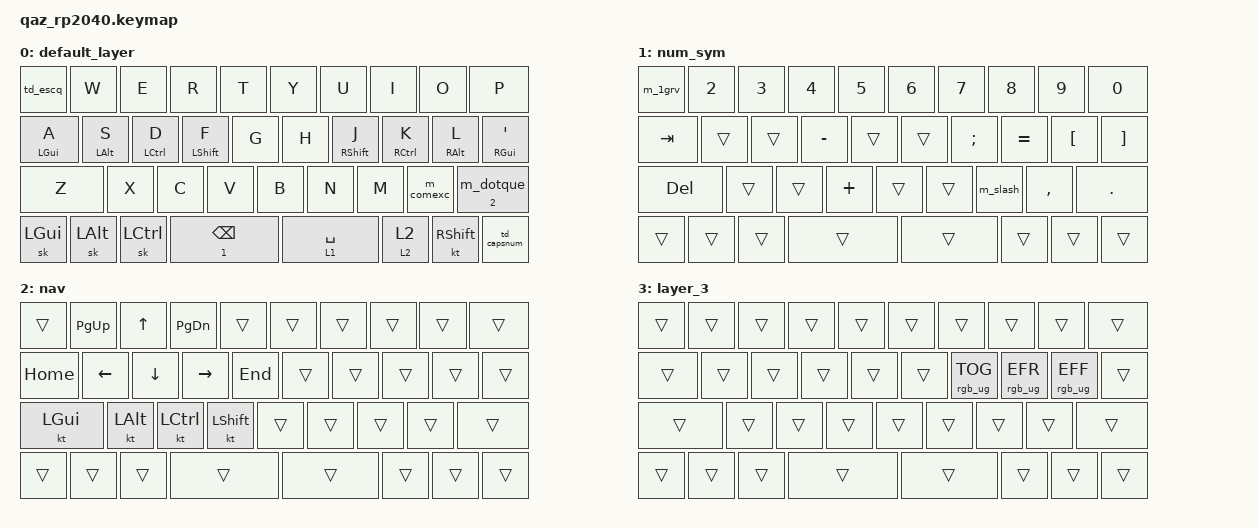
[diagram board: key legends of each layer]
/*
 * Copyright (c) 2024 The ZMK Contributors
 *
 * SPDX-License-Identifier: MIT
 */

#include <behaviors.dtsi>
#include <dt-bindings/zmk/keys.h>
#include <dt-bindings/zmk/rgb.h>

/ {
    combos {
        compatible = "zmk,combos";

        combo_boot {
            bindings = <&bootloader>;
            key-positions = <0 9>;
        };

        combo_unlock {
            bindings = <&studio_unlock>;
            key-positions = <0 10>;
        };

        combo_tab_right {
            bindings = <&kp TAB>;
            key-positions = <27 26>;
            layers = <0>;
        };

        combo_ret_right {
            bindings = <&kp RET>;
            key-positions = <27 28 26>;
            layers = <0>;
        };

        combo_ret_left {
            bindings = <&kp RET>;
            key-positions = <21 22 23>;
            layers = <0>;
        };

        combo_tab_left {
            bindings = <&kp TAB>;
            key-positions = <22 23>;
            layers = <0>;
        };
    };

    macros {
        as: as {
            compatible = "zmk,behavior-macro-one-param";
            display-name = "Auto-Shift";
            #binding-cells = <1>;
            bindings =
                <&macro_press>,
                <&macro_param_1to1 &macro_param_1to2 &autoshift_hold_tap MACRO_PLACEHOLDER MACRO_PLACEHOLDER>,
                <&macro_pause_for_release>,
                <&macro_release>,
                <&macro_param_1to1 &macro_param_1to2 &autoshift_hold_tap MACRO_PLACEHOLDER MACRO_PLACEHOLDER>;
        };

        shifted: shifted_key {
            compatible = "zmk,behavior-macro-one-param";
            display-name = "Shifted";
            #binding-cells = <1>;
            bindings =
                <&macro_press>,
                <&kp LSHIFT &macro_param_1to1>,
                <&macro_tap>,
                <&kp MACRO_PLACEHOLDER>,
                <&macro_release>,
                <&kp LSHIFT>;
        };

        lm: lm {
            compatible = "zmk,behavior-macro-two-param";
            display-name = "Layer Mod";
            #binding-cells = <2>;
            bindings =
                <&macro_param_1to1>,
                <&macro_press>,
                <&mo MACRO_PLACEHOLDER &macro_param_2to1 &kp MACRO_PLACEHOLDER>,
                <&macro_pause_for_release>,
                <&macro_param_2to1>,
                <&macro_release>,
                <&kp MACRO_PLACEHOLDER &macro_param_1to1 &mo MACRO_PLACEHOLDER>;
        };

        layer_shifted: layer_shifted {
            compatible = "zmk,behavior-macro-one-param";
            display-name = "Layer + Shift";
            #binding-cells = <1>;
            bindings =
                <&macro_param_1to1>,
                <&macro_press>,
                <&mo MACRO_PLACEHOLDER &kp LSHFT>,
                <&macro_pause_for_release>,
                <&macro_release>,
                <&kp LSHFT &macro_param_1to1 &mo MACRO_PLACEHOLDER>;
        };
    };

    behaviors {
        autoshift_hold_tap: autoshift_hold_tap {
            compatible = "zmk,behavior-hold-tap";
            bindings = <&shifted>, <&kp>;
            #binding-cells = <2>;
            tapping-term-ms = <200>;
            quick-tap-ms = <200>;
            require-prior-idle-ms = <125>;
            flavor = "balanced";
        };

        lmt: lmt {
            compatible = "zmk,behavior-hold-tap";
            display-name = "Left Mod-Tap";
            bindings = <&kp>, <&kp>;
            #binding-cells = <2>;
            tapping-term-ms = <200>;
            quick-tap-ms = <200>;
            require-prior-idle-ms = <125>;
            hold-trigger-key-positions = <36 28 19 9 8 18 6 7 8 16 17 18 25 26 27 28 33 34 35 15 5 32>;
        };

        rmt: rmt {
            compatible = "zmk,behavior-hold-tap";
            display-name = "Right Mod-Tap";
            bindings = <&kp>, <&kp>;
            #binding-cells = <2>;
            tapping-term-ms = <200>;
            quick-tap-ms = <200>;
            require-prior-idle-ms = <125>;
            hold-trigger-key-positions = <0 1 2 3 4 10 11 12 13 14 20 21 22 23 24 29 30 31 32 33>;
        };

        m_dotque: m_dotque {
            compatible = "zmk,behavior-mod-morph";
            display-name = "Dot-Question";
            bindings = <&kp DOT>, <&kp SLASH>;
            #binding-cells = <0>;
            mods = <(MOD_LSFT)>;
            keep-mods = <(MOD_LSFT)>;
        };

        m_comexc: m_comexc {
            compatible = "zmk,behavior-mod-morph";
            display-name = "Comma-Exclamation";
            bindings = <&kp COMMA>, <&kp EXCL>;
            #binding-cells = <0>;
            mods = <(MOD_LSFT)>;
        };

        td_escq: td_escq {
            compatible = "zmk,behavior-tap-dance";
            display-name = "Q/L3, Esc";
            #binding-cells = <0>;
            bindings = <&lt 3 Q>, <&kp ESC>;
        };

        lsft_lt: lsft_lt {
            compatible = "zmk,behavior-hold-tap";
            display-name = "Shifted Layer-Tap";
            #binding-cells = <2>;
            bindings = <&layer_shifted>, <&kp>;
            tapping-term-ms = <200>;
            quick-tap-ms = <150>;
            flavor = "tap-unless-interrupted";
        };

        mo_tog: mo_tog {
            compatible = "zmk,behavior-hold-tap";
            display-name = "Tap-Toggle Layer";
            #binding-cells = <2>;
            bindings = <&mo>, <&tog>;
            tapping-term-ms = <200>;
            flavor = "balanced";
        };

        td_capsnum: td_capsnum {
            compatible = "zmk,behavior-tap-dance";
            display-name = "Caps/Num/Scroll Lock Tap Dance";
            #binding-cells = <0>;
            bindings = <&kp CAPS>, <&kp KP_NUM>, <&kp SLCK>;
        };

        m_slash: m_slash {
            compatible = "zmk,behavior-mod-morph";
            display-name = "Forward-Back Slash";
            bindings = <&kp SLASH>, <&kp BACKSLASH>;
            #binding-cells = <0>;
            mods = <(MOD_LSFT)>;
        };

        m_1grv: m_1grv {
            compatible = "zmk,behavior-mod-morph";
            display-name = "N1-Grave";
            bindings = <&kp N1>, <&kp GRAVE>;
            #binding-cells = <0>;
            mods = <(MOD_LSFT)>;
        };

        lt_dotq: lt_dotq {
            compatible = "zmk,behavior-hold-tap";
            display-name = "Layer-Tap Dot-Question Mark";
            #binding-cells = <2>;
            bindings = <&lt>, <&m_dotque>;
            tapping-term-ms = <200>;
        };
    };

    keymap {
        compatible = "zmk,keymap";

        default_layer {
            bindings = <
&td_escq     &kp W        &kp E         &kp R         &kp T            &kp Y        &kp U         &kp I         &kp O         &kp P
&lmt LGUI A  &lmt LALT S  &lmt LCTRL D  &lmt LSHFT F  &kp G            &kp H        &rmt RSHFT J  &rmt RCTRL K  &rmt RALT L   &rmt RGUI SQT
&kp Z        &kp X        &kp C         &kp V         &kp B            &kp N        &kp M         &m_comexc     &lt_dotq 2 0
&sk LGUI     &sk LALT     &sk LCTRL                   &lsft_lt 1 BSPC  &lt 1 SPACE                &mo_tog 2 2   &kt RSHFT     &td_capsnum
            >;
        };

        num_sym {
            bindings = <
&m_1grv  &kp N2  &kp N3  &kp N4     &kp N5  &kp N6  &kp N7    &kp N8     &kp N9    &kp N0
&kp TAB  &trans  &trans  &kp MINUS  &trans  &trans  &kp SEMI  &kp EQUAL  &kp LBKT  &kp RBKT
&kp DEL  &trans  &trans  &kp PLUS   &trans  &trans  &m_slash  &kp COMMA  &kp DOT
&trans   &trans  &trans             &trans  &trans            &trans     &trans    &trans
            >;
        };

        nav {
            bindings = <
&trans    &kp PG_UP  &kp UP     &kp PG_DN  &trans   &trans  &trans  &trans  &trans  &trans
&kp HOME  &kp LEFT   &kp DOWN   &kp RIGHT  &kp END  &trans  &trans  &trans  &trans  &trans
&kt LGUI  &kt LALT   &kt LCTRL  &kt LSHFT  &trans   &trans  &trans  &trans  &trans
&trans    &trans     &trans                &trans   &trans          &trans  &trans  &trans
            >;
        };

        layer_3 {
            bindings = <
&trans  &trans  &trans  &trans  &trans  &trans  &trans           &trans           &trans           &trans
&trans  &trans  &trans  &trans  &trans  &trans  &rgb_ug RGB_TOG  &rgb_ug RGB_EFR  &rgb_ug RGB_EFF  &trans
&trans  &trans  &trans  &trans  &trans  &trans  &trans           &trans           &trans
&trans  &trans  &trans          &trans  &trans                   &trans           &trans           &trans
            >;
        };
    };
};
